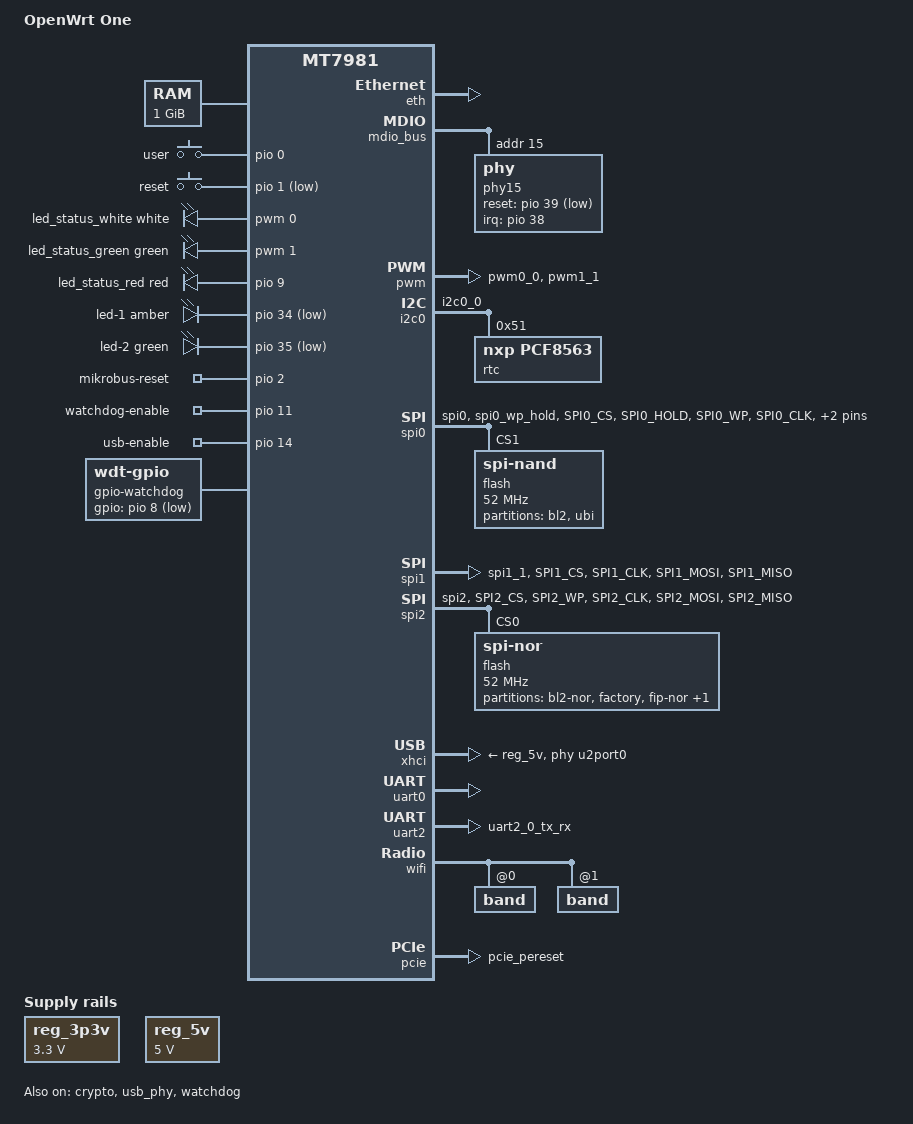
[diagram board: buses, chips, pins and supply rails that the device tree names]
// SPDX-License-Identifier: (GPL-2.0 OR MIT)

/dts-v1/;
#include "mt7981.dtsi"

/ {
	model = "OpenWrt One";
	compatible = "openwrt,one", "mediatek,mt7981";

	aliases {
		ethernet0 = &gmac1;
		label-mac-device = &gmac0;
		led-boot = &led_status_white;
		led-failsafe = &led_status_red;
		led-running = &led_status_green;
		led-upgrade = &led_status_green;
		serial0 = &uart0;
	};

	chosen {
		stdout-path = "serial0:115200n8";
		rootdisk = <&ubi_fit_volume>;
	};

	memory {
		reg = <0 0x40000000 0 0x40000000>;
	};

	reg_3p3v: regulator-3p3v {
		compatible = "regulator-fixed";
		regulator-name = "fixed-3.3V";
		regulator-min-microvolt = <3300000>;
		regulator-max-microvolt = <3300000>;
		regulator-boot-on;
		regulator-always-on;
	};

	reg_5v: regulator-5v {
		compatible = "regulator-fixed";
		regulator-name = "fixed-5V";
		regulator-min-microvolt = <5000000>;
		regulator-max-microvolt = <5000000>;
		regulator-boot-on;
		regulator-always-on;
	};

	gpio-keys {
		compatible = "gpio-keys";

		user {
			label = "user";
			linux,code = <BTN_0>;
			gpios = <&pio 0 GPIO_ACTIVE_HIGH>;
		};

		reset {
			label = "reset";
			linux,code = <KEY_RESTART>;
			gpios = <&pio 1 GPIO_ACTIVE_LOW>;
		};
	};

	pwm-leds {
		compatible = "pwm-leds";

		led_status_white: led-0 {
			color = <LED_COLOR_ID_WHITE>;
			function = LED_FUNCTION_STATUS;
			pwms = <&pwm 0 10000>;
			linux,default-trigger = "pattern";
			led-pattern = <0 500 25 500>;
		};

		led_status_green: led-1 {
			color = <LED_COLOR_ID_GREEN>;
			function = LED_FUNCTION_STATUS;
			pwms = <&pwm 1 10000>;
		};
	};

	gpio-leds {
		compatible = "gpio-leds";

		led_status_red: led-0 {
			color = <LED_COLOR_ID_RED>;
			function = LED_FUNCTION_STATUS;
			gpios = <&pio 9 GPIO_ACTIVE_HIGH>;
		};

		led-1 {
			function = LED_FUNCTION_LAN;
			color = <LED_COLOR_ID_AMBER>;
			gpios = <&pio 34 GPIO_ACTIVE_LOW>;
		};

		led-2 {
			function = LED_FUNCTION_LAN;
			color = <LED_COLOR_ID_GREEN>;
			gpios = <&pio 35 GPIO_ACTIVE_LOW>;
		};
	};

	gpio-export {
		compatible = "gpio-export";

		 gpio-0 {
			gpio-export,name = "mikrobus-reset";
			gpio-export,output = <1>;
			gpios = <&pio 2 GPIO_ACTIVE_HIGH>;
		};

		gpio-1 {
			gpio-export,name = "watchdog-enable";
			gpio-export,output = <1>;
			gpios = <&pio 11 GPIO_ACTIVE_HIGH>;
		};

		gpio-2 {
			gpio-export,name = "usb-enable";
			gpio-export,output = <1>;
			gpios = <&pio 14 GPIO_ACTIVE_HIGH>;
		};
	};

	gpio-watchdog {
		compatible = "linux,wdt-gpio";
		gpios = <&pio 8 GPIO_ACTIVE_LOW>;
		hw_algo = "toggle";
		hw_margin_ms = <25000>;
		always-running;
	};
};

&eth {
	status = "okay";

	gmac0: mac@0 {
		compatible = "mediatek,eth-mac";
		reg = <0>;
		phy-handle = <&phy15>;
		phy-mode = "2500base-x";
		nvmem-cell-names = "mac-address";
		nvmem-cells = <&macaddr_factory_24>;
	};

	gmac1: mac@1 {
		compatible = "mediatek,eth-mac";
		reg = <1>;
		phy-mode = "gmii";
		phy-handle = <&int_gbe_phy>;
	};
};

&mdio_bus {
	phy15: phy@f {
		reg = <0xf>;

		airoha,pnswap-rx;

		interrupt-parent = <&pio>;
		interrupts = <38 IRQ_TYPE_EDGE_FALLING>;
		reset-gpios = <&pio 39 GPIO_ACTIVE_LOW>;
		reset-assert-us = <10000>;
		reset-deassert-us = <20000>;

		phy-mode = "2500base-x";
		full-duplex;
		pause;

		leds {
			#address-cells = <1>;
			#size-cells = <0>;

			led@0 {
				reg = <0>;
				function = LED_FUNCTION_WAN;
				color = <LED_COLOR_ID_AMBER>;
			};

			led@1 {
				reg = <1>;
				function = LED_FUNCTION_WAN;
				color = <LED_COLOR_ID_GREEN>;
			};
		};
	};
};

&crypto {
	status = "okay";
};

&pio {
	spi0_flash_pins: spi0-pins {
		mux {
			function = "spi";
			groups = "spi0", "spi0_wp_hold";
		};

		conf-pu {
			pins = "SPI0_CS", "SPI0_HOLD", "SPI0_WP";
			drive-strength = <MTK_DRIVE_8mA>;
			bias-pull-up = <MTK_PUPD_SET_R1R0_11>;
		};

		conf-pd {
			pins = "SPI0_CLK", "SPI0_MOSI", "SPI0_MISO";
			drive-strength = <MTK_DRIVE_8mA>;
			bias-pull-down = <MTK_PUPD_SET_R1R0_11>;
		};
	};

	spi1_flash_pins: spi1-pins {
		mux {
			function = "spi";
			groups = "spi1_1";
		};

		conf-pu {
			pins = "SPI1_CS";
			drive-strength = <MTK_DRIVE_8mA>;
			bias-pull-up = <MTK_PUPD_SET_R1R0_11>;
		};

		conf-pd {
			pins = "SPI1_CLK", "SPI1_MOSI", "SPI1_MISO";
			drive-strength = <MTK_DRIVE_8mA>;
			bias-pull-down = <MTK_PUPD_SET_R1R0_11>;
		};
	};

	spi2_flash_pins: spi2-pins {
		mux {
			function = "spi";
			groups = "spi2";
		};

		conf-pu {
			pins = "SPI2_CS", "SPI2_WP";
			drive-strength = <MTK_DRIVE_8mA>;
			bias-pull-up = <MTK_PUPD_SET_R1R0_11>;
		};

		conf-pd {
			pins = "SPI2_CLK", "SPI2_MOSI", "SPI2_MISO";
			drive-strength = <MTK_DRIVE_8mA>;
			bias-pull-down = <MTK_PUPD_SET_R1R0_11>;
		};
	};

	i2c_pins: i2c-pins {
		mux {
			function = "i2c";
			groups = "i2c0_0";
		};
	};

	uart2_pins: uart2-pins {
		mux {
			function = "uart";
			groups = "uart2_0_tx_rx";
		};
	};

	pwm_pins: pwm-pins {
		mux {
			function = "pwm";
			groups = "pwm0_0", "pwm1_1";
		};
	};

	pcie_pins: pcie-pins {
		mux {
			function = "pcie";
			groups = "pcie_pereset";
		};
	};
};

&pwm {
	pinctrl-names = "default";
	pinctrl-0 = <&pwm_pins>;
	status = "okay";
};

&i2c0 {
	pinctrl-names = "default";
	pinctrl-0 = <&i2c_pins>;
	status = "okay";

	rtc@51 {
		compatible = "nxp,pcf8563";
		reg = <0x51>;
	};
};

&spi0 {
	pinctrl-names = "default";
	pinctrl-0 = <&spi0_flash_pins>;
	cs-gpios = <0>, <0>;
	#address-cells = <1>;
	#size-cells = <0>;
	status = "okay";

	flash@0 {
		#address-cells = <1>;
		#size-cells = <1>;
		compatible = "spi-nand";
		reg = <1>;
		spi-max-frequency = <52000000>;

		spi-cal-enable;
		spi-cal-mode = "read-data";
		spi-cal-datalen = <7>;
		spi-cal-data = /bits/ 8 <0x53 0x50 0x49 0x4E 0x41 0x4E 0x44>;
		spi-cal-addrlen = <5>;
		spi-cal-addr = /bits/ 32 <0x0 0x0 0x0 0x0 0x0>;

		partitions {
			compatible = "fixed-partitions";
			#address-cells = <1>;
			#size-cells = <1>;

			partition@0 {
				label = "bl2";
				reg = <0x0 0x100000>;
				read-only;
			};

			partition@580000 {
				label = "ubi";
				reg = <0x100000 0xFF00000>;
				compatible = "linux,ubi";

				volumes {
					ubi_fit_volume: ubi-volume-fit {
						volname = "fit";
					};
				};
			};
		};
	};
};

&spi1 {
	pinctrl-names = "default";
	pinctrl-0 = <&spi1_flash_pins>;
	status = "okay";
};

&spi2 {
	pinctrl-names = "default";
	pinctrl-0 = <&spi2_flash_pins>;
	status = "okay";

	flash@0 {
		#address-cells = <1>;
		#size-cells = <1>;
		compatible = "jedec,spi-nor";
		reg = <0>;

		spi-max-frequency = <52000000>;

		partitions {
			compatible = "fixed-partitions";
			#address-cells = <1>;
			#size-cells = <1>;

			partition@0 {
				label = "bl2-nor";
				reg = <0x00000 0x40000>;
			};

			partition@40000 {
				label = "factory";
				reg = <0x40000 0xc0000>;
				read-only;

				nvmem-layout {
					compatible = "fixed-layout";
					#address-cells = <1>;
					#size-cells = <1>;

					eeprom_factory_0: eeprom@0 {
						reg = <0x0 0x1000>;
					};

					macaddr_factory_4: macaddr@4 {
						reg = <0x4 0x6>;
						compatible = "mac-base";
						#nvmem-cell-cells = <1>;
					};

					macaddr_factory_24: macaddr@24 {
						reg = <0x24 0x6>;
						compatible = "mac-base";
					};
				};
			};

			partition@100000 {
				label = "fip-nor";
				reg = <0x100000 0x80000>;
			};

			partition@180000 {
				label = "recovery";
				reg = <0x180000 0xc80000>;
			};
		};
	};
};

&xhci {
	phys = <&u2port0 PHY_TYPE_USB2>;
	vusb33-supply = <&reg_3p3v>;
	vbus-supply = <&reg_5v>;
	mediatek,u3p-dis-msk = <0x01>;
	status = "okay";
};

&uart0 {
	status = "okay";
};

&uart2 {
	pinctrl-names = "default";
	pinctrl-0 = <&uart2_pins>;
	status = "okay";
};

&usb_phy {
	status = "okay";
};

&watchdog {
	status = "okay";
};

&wifi {
	nvmem-cells = <&eeprom_factory_0>;
	nvmem-cell-names = "eeprom";
	status = "okay";

	band@0 {
		reg = <0>;
		nvmem-cells = <&macaddr_factory_4 0>;
		nvmem-cell-names = "mac-address";
	};

	band@1 {
		reg = <1>;
		nvmem-cells = <&macaddr_factory_4 7>;
		nvmem-cell-names = "mac-address";
	};
};

&pcie {
	pinctrl-names = "default";
	pinctrl-0 = <&pcie_pins>;
	status = "okay";
};

&sgmiisys0 {
	/delete-node/ mediatek,pnswap;
};
